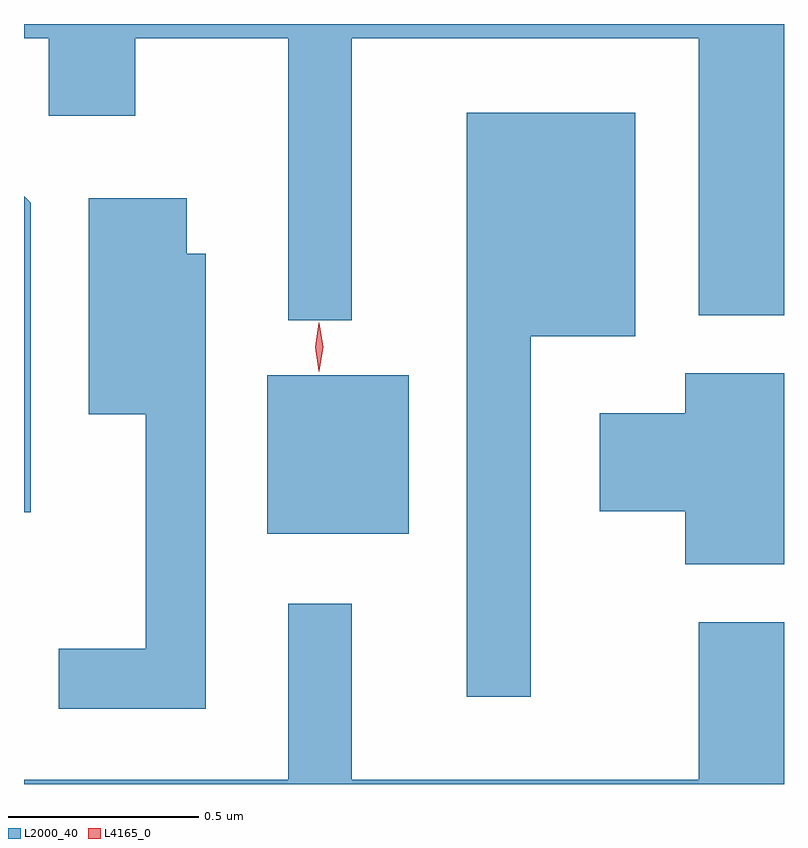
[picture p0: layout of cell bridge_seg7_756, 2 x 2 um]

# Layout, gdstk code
import gdstk
lib = gdstk.Library(unit=1e-6, precision=1e-09)
def R(c, l, rs):  # rectangles x0, y0, x1, y1
    for r in rs: c.add(gdstk.rectangle(r[:2], r[2:], *l))
def P(c, l, *ps):  # polygons
    for p in ps: c.add(gdstk.Polygon(p, *l))
L2000_40 = (2000, 40)
L4165_0 = (4165, 0)

bridge_seg7_756 = lib.new_cell('bridge_seg7_756')
R(bridge_seg7_756, L2000_40, [(597.876,1744.091,598.249,1744.509)])
P(bridge_seg7_756, L2000_40, [(598.099,1745.396),(599.011,1745.396),(599.011,1744.666),(599.236,1744.666),(599.236,1745.433),(597.236,1745.433),(597.236,1745.396),(597.301,1745.396),(597.301,1745.191),(597.529,1745.191),(597.529,1745.396),(597.931,1745.396),(597.931,1744.653),(598.099,1744.653)],
  [(598.569,1744.611),(598.844,1744.611),(598.844,1745.199),(598.401,1745.199),(598.401,1743.663),(598.569,1743.663)],
  [(597.254,1744.962),(597.236,1744.98),(597.236,1744.148),(597.254,1744.148)],
  [(597.714,1744.829),(597.664,1744.829),(597.664,1744.974),(597.406,1744.974),(597.406,1744.406),(597.556,1744.406),(597.556,1743.789),(597.328,1743.789),(597.328,1743.631),(597.714,1743.631)],
  [(599.236,1744.514),(598.976,1744.514),(598.976,1744.409),(598.751,1744.409),(598.751,1744.151),(598.976,1744.151),(598.976,1744.011),(599.236,1744.011)],
  [(599.236,1743.859),(599.011,1743.859),(599.011,1743.444),(598.099,1743.444),(598.099,1743.908),(597.931,1743.908),(597.931,1743.444),(597.236,1743.444),(597.236,1743.433),(599.236,1743.433)])
P(bridge_seg7_756, L4165_0, [(598.013,1744.518),(598.012,1744.519),(598.003,1744.583),(598.012,1744.647),(598.013,1744.647),(598.013,1744.647),(598.023,1744.583),(598.013,1744.519)])

lib.write_gds('bridge_seg7_756.gds')
